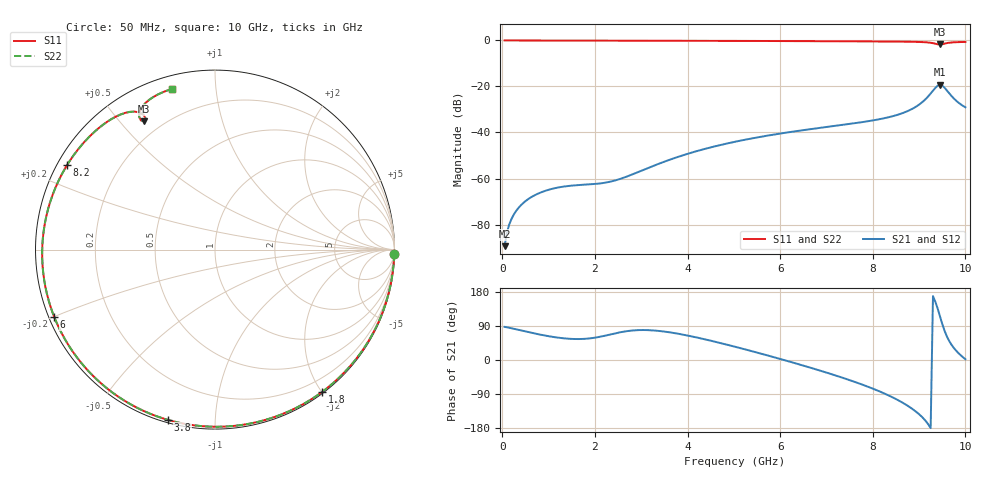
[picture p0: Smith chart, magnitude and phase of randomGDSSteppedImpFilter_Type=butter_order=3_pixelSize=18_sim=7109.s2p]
! freq	dB(S11)	phase(S11)	dB(S12)	phase(S12)
!  dB(S21)	phase(S21)	dB(S22)	phase(S22)
!S-par simulation data
#  GHz  S  DB  R 50
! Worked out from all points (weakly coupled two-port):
!   200 points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, 50 MHz to 10 GHz, reference 50 ohm
!   highest |S21| = -19.29 dB at 9.45 GHz (marker M1); lowest = -89.4 dB at 50 MHz (marker M2)
!   lowest |S11| = -1.8 dB at 9.45 GHz (marker M3), VSWR 9.91, Z = 6.78 + j29.1 ohm
!   |S11| at or under -10 dB: nowhere
!   |S22| runs from -1.8 to 0.0 dB; largest |S21 - S12| = 0
!   S11 on the Smith chart (normalised r, x): 50 MHz: 2, -79; 1.8 GHz: 0.02, -2.01; 3.8 GHz: 0.01, -0.76; 6 GHz: 0.02, -0.20; 8.2 GHz: 0.03, +0.27; 10 GHz: 0.06, +0.76
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0.05  -0.00 -1.5  -89.40 87.4  -89.40 87.4  -0.00 -1.5
0.15  -0.01 -4.5  -79.96 85.1  -79.96 85.1  -0.01 -4.5
0.25  -0.02 -7.5  -75.59 82.3  -75.59 82.3  -0.02 -7.5
0.35  -0.02 -10.5  -72.75 79.5  -72.75 79.5  -0.02 -10.5
0.7  -0.03 -21.0  -67.26 69.9  -67.26 69.9  -0.03 -21.0
1.15  -0.04 -34.2  -64.13 59.9  -64.13 59.9  -0.04 -34.2
1.75  -0.06 -51.5  -62.71 55.7  -62.71 55.7  -0.06 -51.5
1.8  -0.07 -52.9  -62.65 56.0  -62.65 56.0  -0.07 -52.9
2.45  -0.09 -70.8  -60.76 70.7  -60.76 70.7  -0.09 -70.8
3.4  -0.12 -95.5  -53.43 76.5  -53.43 76.5  -0.12 -95.5
3.8  -0.14 -105.5  -50.56 69.3  -50.56 69.3  -0.14 -105.5
5.05  -0.20 -135.3  -43.92 34.2  -43.92 34.2  -0.20 -135.3
6  -0.25 -157.2  -40.46 2.8  -40.46 2.8  -0.25 -157.2
6.7  -0.31 -173.4  -38.42 -22.0  -38.42 -22.0  -0.31 -173.4
7.45  -0.37 168.9  -36.42 -51.0  -36.42 -51.0  -0.37 168.9
8.2  -0.45 150.3  -34.00 -85.7  -34.00 -85.7  -0.45 150.3
8.35  -0.47 146.4  -33.33 -94.0  -33.33 -94.0  -0.47 146.4
8.95  -0.62 129.8  -28.57 -137.9  -28.57 -137.9  -0.62 129.8
9.25  -1.01 120.3  -23.07 -179.7  -23.07 -179.7  -1.01 120.2
9.45  -1.76 118.9  -19.29 115.8  -19.29 115.8  -1.76 118.9
9.65  -0.98 117.0  -22.96 50.1  -22.96 50.1  -0.98 117.0
10  -0.66 105.1  -29.05 2.1  -29.05 2.1  -0.66 105.1
